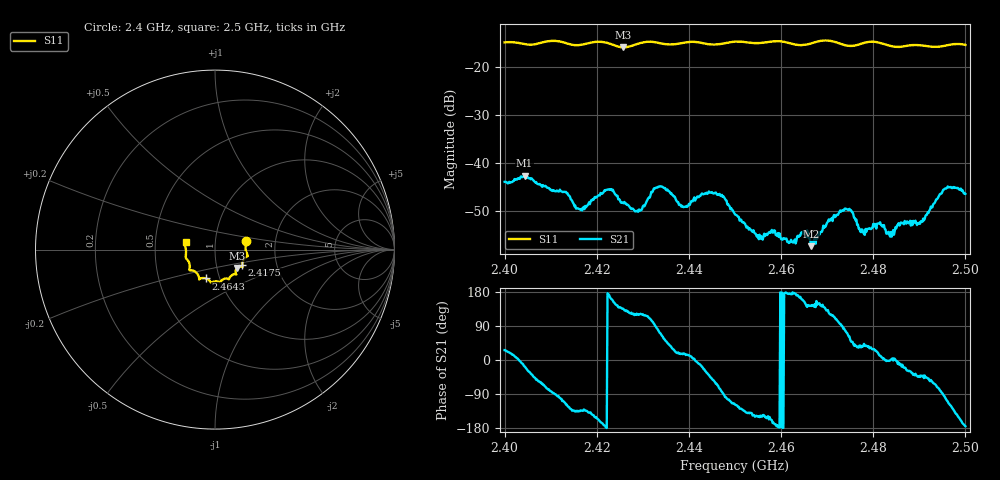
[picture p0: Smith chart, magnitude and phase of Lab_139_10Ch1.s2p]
# Hz S RI R 50
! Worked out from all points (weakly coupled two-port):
!   601 points, 2.4 GHz to 2.5 GHz, reference 50 ohm
!   highest |S21| = -42.63 dB at 2.4043 GHz (marker M1); lowest = -57.3 dB at 2.4665 GHz (marker M2)
!   lowest |S11| = -15.9 dB at 2.4257 GHz (marker M3), VSWR 1.38, Z = 62.5 - j13.1 ohm
!   |S11| at or under -10 dB: start of sweep to end of sweep
!   S12 and S22 are empty: the file has one direction only
!   S11 on the Smith chart (normalised r, x): 2.4 GHz: 1.41, +0.14; 2.4175 GHz: 1.34, -0.23; 2.4643 GHz: 0.86, -0.29; 2.5 GHz: 0.72, +0.06
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2.4e9  0.173 0.0486  0.00573 0.00281  0 0  0 0
2.404333e9  0.1713 0.0215  0.00707 -0.00215  0 0  0 0
2.416667e9  0.153 -0.0741  -0.00229 -0.00243  0 0  0 0
2.4175e9  0.152 -0.0835  -0.00247 -0.00259  0 0  0 0
2.422667e9  0.1477 -0.0944  -0.00524 0.000789  0 0  0 0
2.425667e9  0.1228 -0.1021  -0.00276 0.00269  0 0  0 0
2.429333e9  0.1159 -0.1331  -0.00164 0.00275  0 0  0 0
2.433333e9  0.1133 -0.1371  0.00113 0.00555  0 0  0 0
2.438833e9  0.0804 -0.1588  0.00332 0.00104  0 0  0 0
2.446167e9  0.0465 -0.165  0.00187 -0.00428  0 0  0 0
2.45e9  0.029 -0.1809  -0.00136 -0.00259  0 0  0 0
2.455667e9  -0.00371 -0.1773  -0.00149 -0.000892  0 0  0 0
2.464333e9  -0.0498 -0.1608  -0.0018 0.000568  0 0  0 0
2.4665e9  -0.0744 -0.159  -0.00111 0.000804  0 0  0 0
2.466667e9  -0.0759 -0.1594  -0.00119 0.000912  0 0  0 0
2.474333e9  -0.1 -0.1329  0.00106 0.00313  0 0  0 0
2.477667e9  -0.1327 -0.1154  0.00166 0.00116  0 0  0 0
2.481333e9  -0.1426 -0.1074  0.0023 0.000486  0 0  0 0
2.483333e9  -0.1408 -0.0901  0.00193 -7.76e-05  0 0  0 0
2.490667e9  -0.1629 -0.0366  0.0018 -0.00166  0 0  0 0
2.495667e9  -0.1657 0.0166  -0.00102 -0.00535  0 0  0 0
2.5e9  -0.1638 0.0428  -0.00476 -0.000435  0 0  0 0
